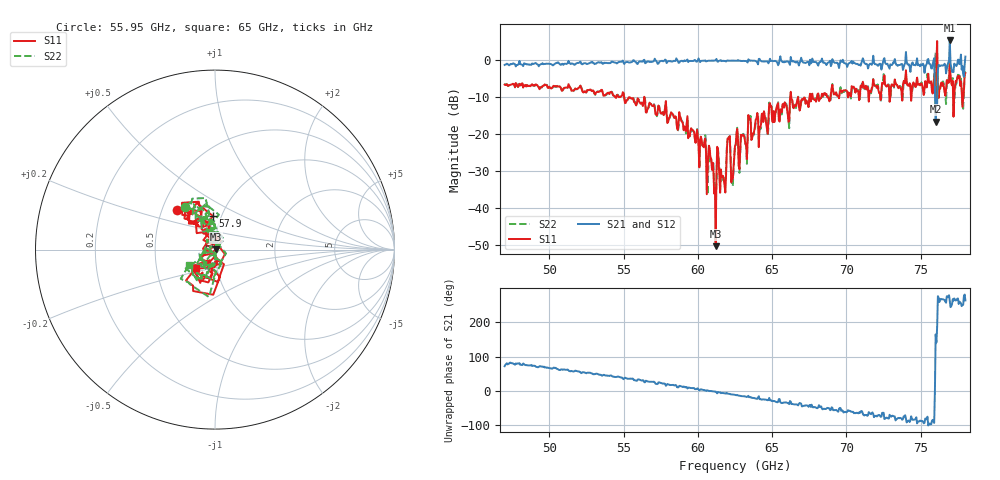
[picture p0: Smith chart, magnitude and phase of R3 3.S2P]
! Python used to change reference impedance from 50 to 1.
# Hz S RI R 1
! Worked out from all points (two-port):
!   621 points, 47 GHz to 78 GHz, reference 1 ohm
!   highest |S21| = 5.29 dB at 76.95 GHz (marker M1); lowest = -16.6 dB at 76 GHz (marker M2)
!   |S21| within 3 dB of the highest: 76.92217 GHz to 76.97475 GHz (52.57 MHz wide, 0.0683 % of centre)
!   lowest |S11| = -50.3 dB at 61.2 GHz (marker M3), VSWR 1.01, Z = 1.01 + j0.00191 ohm
!   |S11| at or under -10 dB: 55.04 GHz to 56.4 GHz (1.36 GHz wide, 2.44 % of centre); 56.4 GHz to 66.21 GHz (9.811 GHz wide, 16 % of centre); 66.29 GHz to 67.51 GHz (1.229 GHz wide, 1.84 % of centre)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
!   |S22| runs from -36.4 to 2.1 dB; largest |S21 - S12| = 0.55
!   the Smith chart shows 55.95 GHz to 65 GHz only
!   S11 on the Smith chart (normalised r, x): 55.95 GHz: 0.60, +0.29; 57.9 GHz: 0.91, +0.35; 65 GHz: 0.79, -0.17
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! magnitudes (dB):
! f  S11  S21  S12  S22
! 47 GHz  -6.6  -1.3  -1.3  -6.4
! 52.2 GHz  -8.0  -1.1  -1.1  -7.7
! 55.95 GHz  -10.3  -1.1  -1.0  -10.7
! 57.35 GHz  -12.3  -1.0  -1.0  -12.3
! 57.9 GHz  -14.5  -0.8  -0.8  -14.2
! 60.35 GHz  -23.0  -0.2  -0.2  -23.1
! 61.1 GHz  -36.1  -0.2  -0.2  -34.1
! 61.2 GHz  -50.3  -0.1  -0.1  -36.1
! 61.45 GHz  -31.1  -0.2  -0.2  -29.0
! 61.75 GHz  -32.5  -0.2  -0.2  -31.5
! 62.05 GHz  -21.3  -0.2  -0.2  -21.3
! 62.35 GHz  -32.1  -0.2  -0.2  -34.1
! 62.5 GHz  -23.2  -0.2  -0.2  -23.1
! 65 GHz  -16.5  -0.2  -0.2  -15.6
! 67.7 GHz  -9.1  0.4  0.4  -9.8
! 72.85 GHz  -7.1  -2.0  -2.0  -6.7
! 75.75 GHz  -8.4  -2.3  -2.3  -7.1
! 76 GHz  -13.3  -16.6  -16.6  2.1
! 76.3 GHz  -7.7  -1.6  -1.6  -7.7
! 76.95 GHz  -0.1  5.3  5.3  -0.7
! 77.75 GHz  -7.9  -2.6  -2.6  -8.1
! 78 GHz  -3.5  0.9  0.9  -2.8
